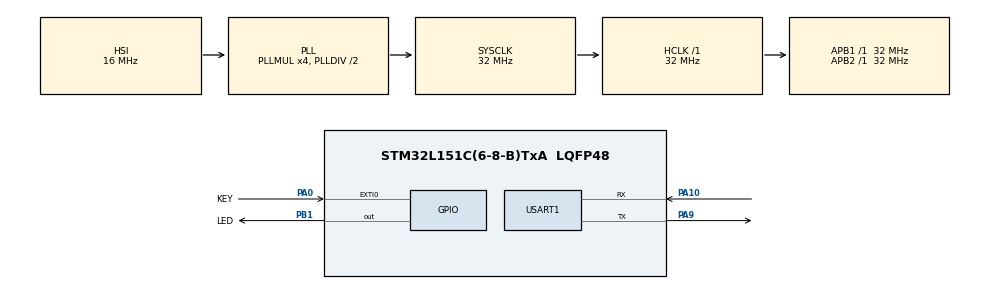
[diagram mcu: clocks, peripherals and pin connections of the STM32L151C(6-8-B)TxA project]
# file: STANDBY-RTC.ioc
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Mcu.Family=STM32L1
Mcu.Name=STM32L151C(6-8-B)TxA
Mcu.Package=LQFP48
NVIC.EXTI0_IRQn=true\:0\:0\:false
NVIC.PriorityGroup=NVIC_PRIORITYGROUP_4
NVIC.RTC_WKUP_IRQn=true\:0\:0\:false
PA0-WKUP1.GPIO_Label=KEY
PA0-WKUP1.GPIO_ModeDefaultEXTI=GPIO_MODE_IT_RISING
PA0-WKUP1.GPIO_PuPd=GPIO_PULLDOWN
PA0-WKUP1.Signal=GPXTI0
PA10.Mode=Asynchronous
PA10.Signal=USART1_RX
PA13.Mode=Serial-Wire
PA13.Signal=SYS_JTMS-SWDIO
PA14.Mode=Serial-Wire
PA14.Signal=SYS_JTCK-SWCLK
PA9.Mode=Asynchronous
PA9.Signal=USART1_TX
PB1.GPIO_Label=LED
PB1.GPIO_PuPd=GPIO_NOPULL
PB1.Signal=GPIO_Output
ProjectManager.HeapSize=0x400
ProjectManager.StackSize=0x200
ProjectManager.TargetToolchain=EWARM
RCC.AHBFreq_Value=32000000
RCC.APB1Freq_Value=32000000
RCC.APB1TimFreq_Value=32000000
RCC.APB2Freq_Value=32000000
RCC.APB2TimFreq_Value=32000000
RCC.HCLKFreq_Value=32000000
RCC.HSE_VALUE=8000000
RCC.HSI_VALUE=16000000
RCC.LSE_VALUE=32768
RCC.MSI_VALUE=2097000
RCC.PLLMUL=RCC_PLL_MUL4
RCC.RTCClockSelection=RCC_RTCCLKSOURCE_LSI
RCC.RTCClockSelectionVirtual=RCC_RTCCLKSOURCE_LSI
RCC.SYSCLKFreq_VALUE=32000000
RCC.SYSCLKSource=RCC_SYSCLKSOURCE_PLLCLK
RCC.USBOutput=32000000
RCC.VCOOutputFreq_Value=64000000
RTC.WakeUpClock=RTC_WAKEUPCLOCK_RTCCLK_DIV16
VP_RTC_VS_RTC_WakeUp_intern.Mode=WakeUp
board=STANDBY-RTC

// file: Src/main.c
/**
******************************************************************************
* File Name          : main.c
* Description        : Main program body
******************************************************************************
*
* COPYRIGHT(c) 2015 STMicroelectronics
*
* Redistribution and use in source and binary forms, with or without modification,
* are permitted provided that the following conditions are met:
*   1. Redistributions of source code must retain the above copyright notice,
*      this list of conditions and the following disclaimer.
*   2. Redistributions in binary form must reproduce the above copyright notice,
*      this list of conditions and the following disclaimer in the documentation
*      and/or other materials provided with the distribution.
*   3. Neither the name of STMicroelectronics nor the names of its contributors
*      may be used to endorse or promote products derived from this software
*      without specific prior written permission.
*
* THIS SOFTWARE IS PROVIDED BY THE COPYRIGHT HOLDERS AND CONTRIBUTORS "AS IS"
* AND ANY EXPRESS OR IMPLIED WARRANTIES, INCLUDING, BUT NOT LIMITED TO, THE
* IMPLIED WARRANTIES OF MERCHANTABILITY AND FITNESS FOR A PARTICULAR PURPOSE ARE
* DISCLAIMED. IN NO EVENT SHALL THE COPYRIGHT HOLDER OR CONTRIBUTORS BE LIABLE
* FOR ANY DIRECT, INDIRECT, INCIDENTAL, SPECIAL, EXEMPLARY, OR CONSEQUENTIAL
* DAMAGES (INCLUDING, BUT NOT LIMITED TO, PROCUREMENT OF SUBSTITUTE GOODS OR
* SERVICES; LOSS OF USE, DATA, OR PROFITS; OR BUSINESS INTERRUPTION) HOWEVER
* CAUSED AND ON ANY THEORY OF LIABILITY, WHETHER IN CONTRACT, STRICT LIABILITY,
* OR TORT (INCLUDING NEGLIGENCE OR OTHERWISE) ARISING IN ANY WAY OUT OF THE USE
* OF THIS SOFTWARE, EVEN IF ADVISED OF THE POSSIBILITY OF SUCH DAMAGE.
*
******************************************************************************
*/
#include "stm32l1xx_hal.h"
#include "rtc.h"
#include "usart.h"
#include "gpio.h"

/* USER CODE BEGIN PV */
/* Private variables ---------------------------------------------------------*/

/* USER CODE END PV */

void SystemClock_Config(void);

/* USER CODE BEGIN PFP */
/* Private function prototypes -----------------------------------------------*/

/* USER CODE END PFP */

int main(void)
{

	/* USER CODE BEGIN 1 */
	__IO uint8_t sec = 0;
	/* USER CODE END 1 */

	/* MCU Configuration----------------------------------------------------------*/

	/* Reset of all peripherals, Initializes the Flash interface and the Systick. */
	HAL_Init();

	/* Configure the system clock */
	SystemClock_Config();

	/* Initialize all configured peripherals */
	MX_GPIO_Init();
	MX_RTC_Init();
	MX_USART1_UART_Init();

	/* USER CODE BEGIN 2 */

	// 禁用比较器
	__COMP_CLK_DISABLE();

	/* 禁止唤醒时钟计数 */
	HAL_RTCEx_DeactivateWakeUpTimer(&hrtc);

	// 低功耗模式下RTC 允许访问 ，RTC唤醒需要
	HAL_PWR_EnableBkUpAccess();
	//HAL_PWR_DisableBkUpAccess();

	// 禁止 PVD
	HAL_PWR_DisablePVD();

	// 关闭VREFINT	少3uA
	HAL_PWREx_EnableUltraLowPower();
	// 忽略VREFINT 加快启动速度
	HAL_PWREx_EnableFastWakeUp();

	// 允许/禁用 调试端口 少800uA
	HAL_DBGMCU_DisableDBGStopMode();
	//HAL_DBGMCU_EnableDBGStopMode();

	// 检查系统是否从待机模式恢复
	if(__HAL_PWR_GET_FLAG(PWR_FLAG_SB) != RESET)
	{
		/* Clear Standby flag */
		printf(" \r\nResume by from StandBy mode\r\n");
		__HAL_PWR_CLEAR_FLAG(PWR_FLAG_SB);
	}else{
		printf(" \r\nSystem Init\r\n");
	}

	/* USER CODE END 2 */

	/* Infinite loop */
	/* USER CODE BEGIN WHILE */
	while (1)
	{
		LED_TOG;
		HAL_Delay(1000);
		printf("Run!\r\n");
		sec++;
		if(sec>5){
			sec=0;
			printf("=== StandBy mode===\r\n");
			// PIN1 连接到 PWR->CR 的 PWR_FLAG_WU 标记
			// 用于唤醒后，判断WKUP按钮状态
			HAL_PWR_EnableWakeUpPin(PWR_WAKEUP_PIN1);

			/*## Configure the Wake up timer ###########################################*/
			/*  RTC Wakeup Interrupt Generation:
			Wakeup Time Base = (RTC_WAKEUPCLOCK_RTCCLK_DIV /(LSI))
			Wakeup Time = Wakeup Time Base * WakeUpCounter
			= (RTC_WAKEUPCLOCK_RTCCLK_DIV /(LSI)) * WakeUpCounter
			==> WakeUpCounter = Wakeup Time / Wakeup Time Base

			To configure the wake up timer to 4s the WakeUpCounter is set to 0x242B:
			RTC_WAKEUPCLOCK_RTCCLK_DIV = RTCCLK_Div16 = 16
			Wakeup Time Base = 16 /(~37KHz) = ~0,432 ms
			Wakeup Time = ~5s = 0,432ms  * WakeUpCounter
			==> WakeUpCounter = ~5s/0,432ms = 11562 */
			// rtc 唤醒采用LSI时钟，第一参数，计数溢出唤醒；第二参数：进行16分配，
			HAL_RTCEx_SetWakeUpTimer_IT(&hrtc, 13562, RTC_WAKEUPCLOCK_RTCCLK_DIV16);

			/* Clear all related wakeup flags */
			__HAL_PWR_CLEAR_FLAG(PWR_FLAG_WU);

			/* Enter the Standby mode */
			HAL_PWR_EnterSTANDBYMode();
		}

		/* USER CODE END WHILE */

	}

}

/** System Clock Configuration
*/
void SystemClock_Config(void)
{

	RCC_OscInitTypeDef RCC_OscInitStruct;
	RCC_ClkInitTypeDef RCC_ClkInitStruct;
	RCC_PeriphCLKInitTypeDef PeriphClkInit;

	__PWR_CLK_ENABLE();

	__HAL_PWR_VOLTAGESCALING_CONFIG(PWR_REGULATOR_VOLTAGE_SCALE1);

	RCC_OscInitStruct.OscillatorType = RCC_OSCILLATORTYPE_HSI|RCC_OSCILLATORTYPE_LSI;
	RCC_OscInitStruct.HSIState = RCC_HSI_ON;
	RCC_OscInitStruct.HSICalibrationValue = 16;
	RCC_OscInitStruct.LSIState = RCC_LSI_ON;
	RCC_OscInitStruct.PLL.PLLState = RCC_PLL_ON;
	RCC_OscInitStruct.PLL.PLLSource = RCC_PLLSOURCE_HSI;
	RCC_OscInitStruct.PLL.PLLMUL = RCC_PLL_MUL4;
	RCC_OscInitStruct.PLL.PLLDIV = RCC_PLL_DIV2;
	HAL_RCC_OscConfig(&RCC_OscInitStruct);

	RCC_ClkInitStruct.ClockType = RCC_CLOCKTYPE_SYSCLK;
	RCC_ClkInitStruct.SYSCLKSource = RCC_SYSCLKSOURCE_PLLCLK;
	RCC_ClkInitStruct.AHBCLKDivider = RCC_SYSCLK_DIV1;
	RCC_ClkInitStruct.APB1CLKDivider = RCC_HCLK_DIV1;
	RCC_ClkInitStruct.APB2CLKDivider = RCC_HCLK_DIV1;
	HAL_RCC_ClockConfig(&RCC_ClkInitStruct, FLASH_LATENCY_1);

	PeriphClkInit.PeriphClockSelection = RCC_PERIPHCLK_RTC;
	PeriphClkInit.RTCClockSelection = RCC_RTCCLKSOURCE_LSI;
	HAL_RCCEx_PeriphCLKConfig(&PeriphClkInit);

	HAL_SYSTICK_Config(HAL_RCC_GetHCLKFreq()/1000);

	HAL_SYSTICK_CLKSourceConfig(SYSTICK_CLKSOURCE_HCLK);

	/* SysTick_IRQn interrupt configuration */
	HAL_NVIC_SetPriority(SysTick_IRQn, 0, 0);
}

/* USER CODE BEGIN 4 */

//===================================================  printf uart1
#ifdef __GNUC__
/* With GCC/RAISONANCE, small printf (option LD Linker->Libraries->Small printf
set to 'Yes') calls __io_putchar() */
#define PUTCHAR_PROTOTYPE int __io_putchar(int ch)
#else
#define PUTCHAR_PROTOTYPE int fputc(int ch, FILE *f)
#endif
PUTCHAR_PROTOTYPE
{
	while(__HAL_UART_GET_FLAG(&huart1, UART_FLAG_TC) == RESET);
#ifdef __STM32F0xx_HAL_H

	huart1.Instance->TDR = (uint8_t)ch;
#endif

#ifdef __STM32F1xx_HAL_H
	huart1.Instance->DR = (uint8_t)ch;
#endif

#ifdef __STM32L1xx_HAL_H
	huart1.Instance->DR = (uint8_t)ch;
#endif

	return ch;
}

/* USER CODE END 4 */

/************************ (C) COPYRIGHT STMicroelectronics *****END OF FILE****/
